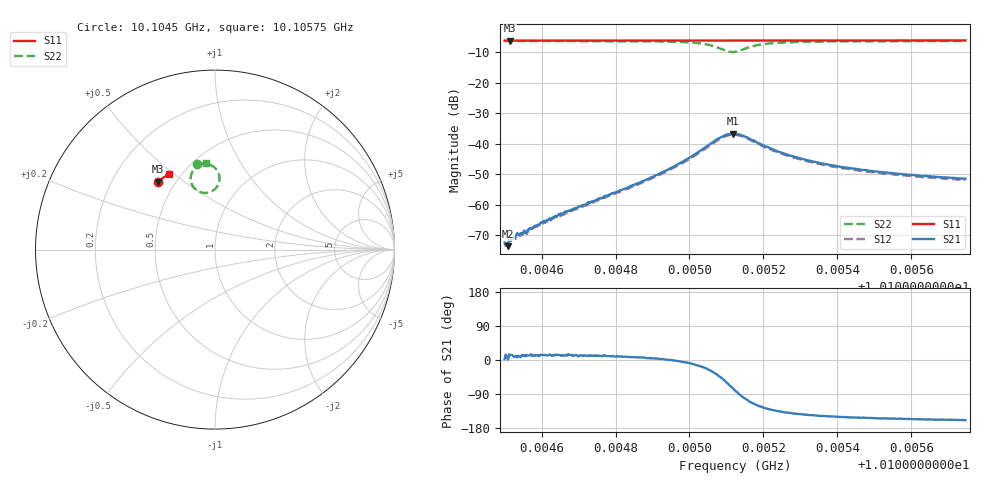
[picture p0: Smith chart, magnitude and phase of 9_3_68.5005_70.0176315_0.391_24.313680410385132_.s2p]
#  HZ  S  RI  R  50.00
! Rohde & Schwarz Vector Network Analyzer
! Rohde-Schwarz,ZNB20-2Port,1311601062101988,3.16
! Created: UTC 3/20/2024, 4:48:57 PM
! freq[Hz]  re:S11  im:S11  re:S21  im:S21  re:S12  im:S12  re:S22  im:S22
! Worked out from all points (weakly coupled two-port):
!   401 points, 10.1045 GHz to 10.10575 GHz, reference 50 ohm
!   highest |S21| = -36.64 dB at 10.10512 GHz (marker M1); lowest = -73.6 dB at 10.10451 GHz (marker M2)
!   lowest |S11| = -6.1 dB at 10.10452 GHz (marker M3), VSWR 2.94, Z = 20.2 + j20.2 ohm
!   |S11| at or under -10 dB: nowhere
!   |S22| runs from -9.9 to -6.3 dB; largest |S21 - S12| = 0.0017
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1.01045e10  -0.3167 0.3776  0.000238 7.9e-06  0.000207 5.1e-05  -0.0977 0.4754
1.010451e10  -0.3162 0.3778  0.000208 3.1e-06  0.000217 6.98e-05  -0.0967 0.4754
1.0104516e10  -0.3159 0.378  0.000248 5.63e-05  0.000223 9.63e-05  -0.0961 0.4755
1.0104538e10  -0.3148 0.3789  0.000313 6.31e-05  0.000269 8.58e-05  -0.094 0.4759
1.0104556e10  -0.3141 0.3798  0.000336 5.79e-05  0.000318 0.0001  -0.0925 0.4763
1.0104569e10  -0.3136 0.3803  0.000404 8.97e-05  0.000387 0.00011  -0.0912 0.4766
1.0104603e10  -0.312 0.3817  0.000497 0.000118  0.000468 0.000121  -0.0878 0.4773
1.0104637e10  -0.3102 0.3832  0.000634 0.000164  0.000609 0.000165  -0.0844 0.4778
1.0104709e10  -0.307 0.386  0.00094 0.00021  0.000886 0.00025  -0.0762 0.4787
1.0104918e10  -0.2972 0.3943  0.00322 0.000181  0.00305 0.000433  -0.038 0.4764
1.0104992e10  -0.2935 0.3971  0.00553 -0.000652  0.00527 -0.00015  -0.00943 0.4633
1.0105067e10  -0.2895 0.3996  0.00913 -0.00613  0.00928 -0.00492  0.0254 0.3961
1.0105095e10  -0.2881 0.4002  0.00797 -0.0111  0.00862 -0.00984  0.00416 0.3421
1.0105117e10  -0.2874 0.4008  0.00396 -0.0142  0.00513 -0.0132  -0.0458 0.3164
1.0105123e10  -0.2871 0.401  0.00253 -0.0145  0.00372 -0.0136  -0.0622 0.3161
1.0105157e10  -0.286 0.4024  -0.00366 -0.0121  -0.00231 -0.012  -0.1247 0.3557
1.0105204e10  -0.2841 0.4042  -0.00543 -0.00729  -0.00458 -0.00737  -0.134 0.4133
1.0105266e10  -0.2811 0.4067  -0.00496 -0.0043  -0.00446 -0.00457  -0.1177 0.4473
1.0105332e10  -0.2779 0.4093  -0.00425 -0.00293  -0.00383 -0.00314  -0.1023 0.4622
1.0105409e10  -0.274 0.4122  -0.00362 -0.00206  -0.00331 -0.0023  -0.0883 0.4707
1.010554e10  -0.2675 0.4168  -0.00299 -0.00144  -0.00274 -0.00162  -0.0717 0.4778
1.0105746e10  -0.2572 0.424  -0.0025 -0.000966  -0.00228 -0.00113  -0.0519 0.4829
